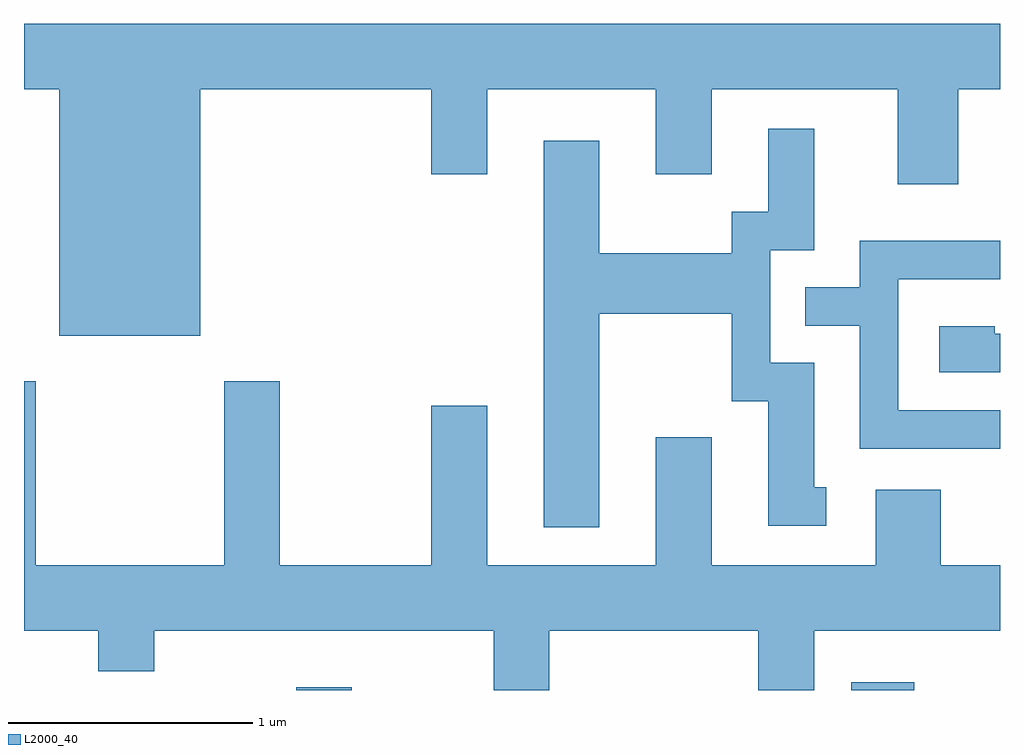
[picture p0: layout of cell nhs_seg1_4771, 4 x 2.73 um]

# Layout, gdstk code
import gdstk
lib = gdstk.Library(unit=1e-6, precision=1e-09)
def R(c, l, rs):  # rectangles x0, y0, x1, y1
    for r in rs: c.add(gdstk.rectangle(r[:2], r[2:], *l))
def P(c, l, *ps):  # polygons
    for p in ps: c.add(gdstk.Polygon(p, *l))
L2000_40 = (2000, 40)

nhs_seg1_4771 = lib.new_cell('nhs_seg1_4771')
R(nhs_seg1_4771, L2000_40, [(328.726,963.712,328.954,963.724), (331.001,963.712,331.259,963.744)])
P(nhs_seg1_4771, L2000_40, [(328.334,966.176),(329.281,966.176),(329.281,965.826),(329.509,965.826),(329.509,966.176),(330.201,966.176),(330.201,965.826),(330.429,965.826),(330.429,966.176),(331.191,966.176),(331.191,965.786),(331.439,965.786),(331.439,966.176),(331.611,966.176),(331.611,966.444),(327.611,966.444),(327.611,966.176),(327.756,966.176),(327.756,965.166),(328.334,965.166)],
  [(329.969,965.256),(330.511,965.256),(330.511,964.896),(330.661,964.896),(330.661,964.386),(330.898,964.386),(330.898,964.544),(330.849,964.544),(330.849,965.054),(330.669,965.054),(330.669,965.516),(330.849,965.516),(330.849,966.014),(330.661,966.014),(330.661,965.674),(330.511,965.674),(330.511,965.504),(329.969,965.504),(329.969,965.964),(329.741,965.964),(329.741,964.381),(329.969,964.381)],
  [(331.611,964.859),(331.194,964.859),(331.194,965.396),(331.611,965.396),(331.611,965.554),(331.036,965.554),(331.036,965.364),(330.813,965.364),(330.813,965.206),(331.036,965.206),(331.036,964.701),(331.611,964.701)],
  [(331.611,965.174),(331.589,965.174),(331.589,965.204),(331.361,965.204),(331.361,965.016),(331.611,965.016)],
  [(329.764,963.956),(330.621,963.956),(330.621,963.712),(330.849,963.712),(330.849,963.956),(331.611,963.956),(331.611,964.224),(331.369,964.224),(331.369,964.534),(331.101,964.534),(331.101,964.224),(330.429,964.224),(330.429,964.749),(330.201,964.749),(330.201,964.224),(329.509,964.224),(329.509,964.879),(329.281,964.879),(329.281,964.224),(328.659,964.224),(328.659,964.979),(328.431,964.979),(328.431,964.224),(327.659,964.224),(327.659,964.979),(327.611,964.979),(327.611,963.956),(327.916,963.956),(327.916,963.791),(328.144,963.791),(328.144,963.956),(329.536,963.956),(329.536,963.712),(329.764,963.712)])

lib.write_gds('nhs_seg1_4771.gds')
